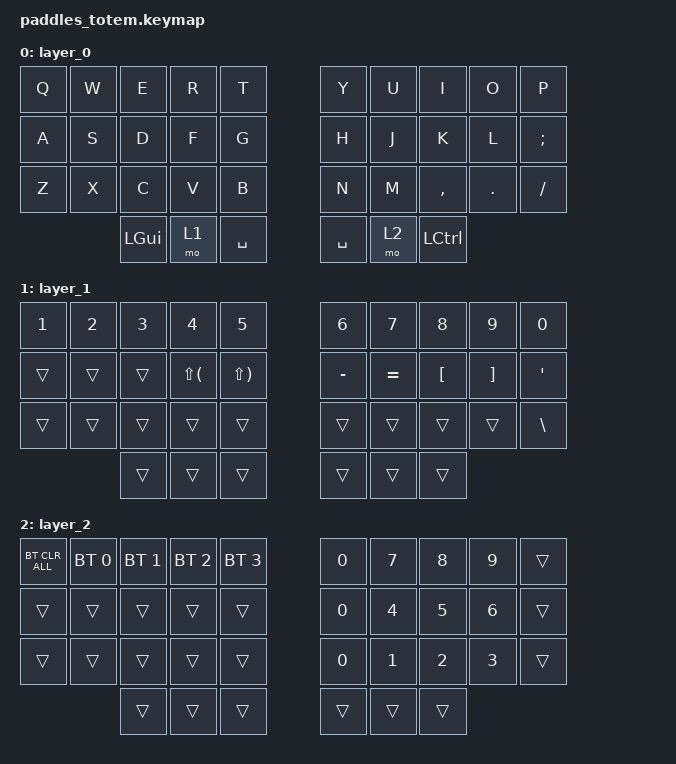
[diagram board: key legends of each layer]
#include <behaviors.dtsi>
#include <dt-bindings/zmk/bt.h>
#include <dt-bindings/zmk/keys.h>

#include <behaviors.dtsi>
#include <dt-bindings/zmk/bt.h>
#include <dt-bindings/zmk/keys.h>

/ {
    keymap {
        compatible = "zmk,keymap";

        layer_0 {
            bindings = <
        &kp Q  &kp W  &kp E     &kp R  &kp T        &kp Y      &kp U  &kp I      &kp O    &kp P
        &kp A  &kp S  &kp D     &kp F  &kp G        &kp H      &kp J  &kp K      &kp L    &kp SEMI
        &kp Z  &kp X  &kp C     &kp V  &kp B        &kp N      &kp M  &kp COMMA  &kp DOT  &kp FSLH
                      &kp LGUI  &mo 1  &kp SPACE    &kp SPACE  &mo 2  &kp LCTRL
            >;
        };

        layer_1 {
            bindings = <
        &kp N1  &kp N2  &kp N3  &kp N4        &kp N5          &kp N6     &kp N7     &kp N8    &kp N9    &kp N0
        &trans  &trans  &trans  &kp LS(LPAR)  &kp LS(RPAR)    &kp MINUS  &kp EQUAL  &kp LBKT  &kp RBKT  &kp SQT
        &trans  &trans  &trans  &trans        &trans          &trans     &trans     &trans    &trans    &kp BSLH
                        &trans  &trans        &trans          &trans     &trans     &trans
            >;
        };

        layer_2 {
            bindings = <
        &bt BT_CLR_ALL  &bt BT_SEL 0  &bt BT_SEL 1  &bt BT_SEL 2  &bt BT_SEL 3    &kp N0  &kp N7  &kp N8  &kp N9  &trans
        &trans          &trans        &trans        &trans        &trans          &kp N0  &kp N4  &kp N5  &kp N6  &trans
        &trans          &trans        &trans        &trans        &trans          &kp N0  &kp N1  &kp N2  &kp N3  &trans
                                      &trans        &trans        &trans          &trans  &trans  &trans
            >;
        };
    };
};
